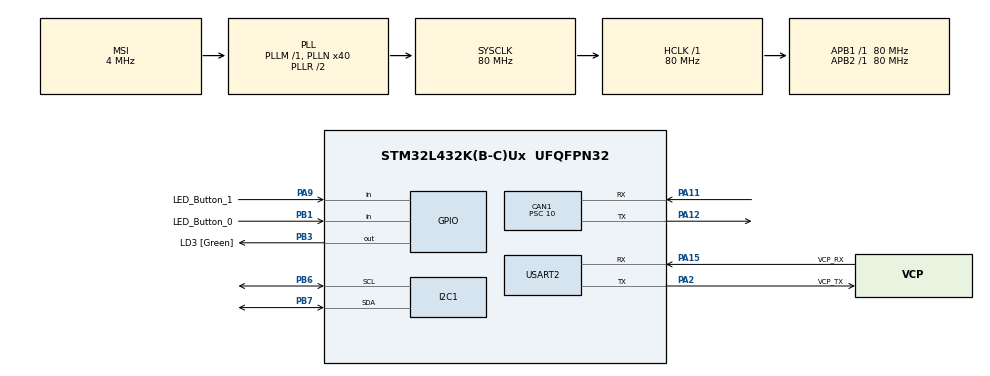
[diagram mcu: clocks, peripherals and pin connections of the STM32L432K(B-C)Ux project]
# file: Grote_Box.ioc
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CAN1.BS1=CAN_BS1_13TQ
CAN1.BS2=CAN_BS2_2TQ
CAN1.CalculateBaudRate=500000
CAN1.CalculateTimeBit=2000
CAN1.CalculateTimeQuantum=125.0
CAN1.Prescaler=10
I2C1.Timing=0x10D19CE4
Mcu.Family=STM32L4
Mcu.Name=STM32L432K(B-C)Ux
Mcu.Package=UFQFPN32
NVIC.CAN1_RX0_IRQn=true\:0\:0\:false\:false\:true\:true\:true\:true
NVIC.CAN1_RX1_IRQn=true\:0\:0\:false\:false\:true\:true\:true\:true
NVIC.PriorityGroup=NVIC_PRIORITYGROUP_4
PA0.GPIO_Label=MCO [High speed clock in]
PA0.Mode=HSE-External-Clock-Source-for-LittleOrca
PA0.Signal=RCC_CK_IN
PA11.GPIO_PuPd=GPIO_PULLUP
PA11.Mode=CAN_Activate
PA11.Signal=CAN1_RX
PA12.Mode=CAN_Activate
PA12.Signal=CAN1_TX
PA13\ (JTMS-SWDIO).GPIO_Label=SWDIO
PA13\ (JTMS-SWDIO).Mode=Serial_Wire
PA13\ (JTMS-SWDIO).Signal=SYS_JTMS-SWDIO
PA14\ (JTCK-SWCLK).GPIO_Label=SWCLK
PA14\ (JTCK-SWCLK).Mode=Serial_Wire
PA14\ (JTCK-SWCLK).Signal=SYS_JTCK-SWCLK
PA15\ (JTDI).GPIO_Label=VCP_RX
PA15\ (JTDI).Mode=Asynchronous
PA15\ (JTDI).Signal=USART2_RX
PA2.GPIO_Label=VCP_TX
PA2.Mode=Asynchronous
PA2.Signal=USART2_TX
PA9.GPIO_Label=LED_Button_1
PA9.GPIO_PuPd=GPIO_PULLUP
PA9.Signal=GPIO_Input
PB1.GPIO_Label=LED_Button_0
PB1.GPIO_PuPd=GPIO_PULLUP
PB1.Signal=GPIO_Input
PB3\ (JTDO-TRACESWO).GPIO_Label=LD3 [Green]
PB3\ (JTDO-TRACESWO).Signal=GPIO_Output
PB6.GPIO_Pu=GPIO_PULLUP
PB6.Mode=I2C
PB6.Signal=I2C1_SCL
PB7.GPIO_Pu=GPIO_PULLUP
PB7.Mode=I2C
PB7.Signal=I2C1_SDA
PC14-OSC32_IN\ (PC14).Mode=LSE-External-Oscillator
PC14-OSC32_IN\ (PC14).Signal=RCC_OSC32_IN
PC15-OSC32_OUT\ (PC15).Mode=LSE-External-Oscillator
PC15-OSC32_OUT\ (PC15).Signal=RCC_OSC32_OUT
ProjectManager.HeapSize=0x200
ProjectManager.StackSize=0x400
ProjectManager.TargetToolchain=STM32CubeIDE
RCC.AHBFreq_Value=80000000
RCC.APB1Freq_Value=80000000
RCC.APB1TimFreq_Value=80000000
RCC.APB2Freq_Value=80000000
RCC.APB2TimFreq_Value=80000000
RCC.CortexFreq_Value=80000000
RCC.HCLKFreq_Value=80000000
RCC.HSE_VALUE=8000000
RCC.HSI16_VALUE=16000000
RCC.HSI48_VALUE=48000000
RCC.HSI_VALUE=16000000
RCC.MSI_VALUE=4000000
RCC.PLLMUL=RCC_PLLMUL_4
RCC.PLLN=40
RCC.SYSCLKFreq_VALUE=80000000
RCC.SYSCLKSource=RCC_SYSCLKSOURCE_PLLCLK
RCC.VCOOutputFreq_Value=160000000
USART2.VirtualMode-Asynchronous=VM_ASYNC
board=NUCLEO-L432KC

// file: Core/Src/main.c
/* USER CODE BEGIN Header */
/**
  ******************************************************************************
  * @file           : main.c
  * @brief          : Main program body
  ******************************************************************************
  * @attention
  *
  * Copyright (c) 2026 STMicroelectronics.
  * All rights reserved.
  *
  * This software is licensed under terms that can be found in the LICENSE file
  * in the root directory of this software component.
  * If no LICENSE file comes with this software, it is provided AS-IS.
  *
  ******************************************************************************
  */
/* USER CODE END Header */
#include "main.h"

/* USER CODE BEGIN Includes */
#include <stdio.h>
#include <string.h>
#include <math.h>
/* USER CODE END Includes */

/* USER CODE BEGIN PD */
#define GYRO_ADDR  (0x68 << 1)
#define PATIENT_FALLEN 0x20
/* USER CODE END PD */

CAN_HandleTypeDef hcan1;
I2C_HandleTypeDef hi2c1;
UART_HandleTypeDef huart2;

/* USER CODE BEGIN PV */
uint8_t ledsA = 0x00;   // GPIOA (LED 0 t/m 7)
uint8_t ledsB = 0x00;   // GPIOB (LED 8 en 9)

CAN_TxHeaderTypeDef TxHeader;
CAN_RxHeaderTypeDef RxHeader;
uint8_t TxData[8];
uint8_t RxData[8];
uint32_t TxMailbox;
/* USER CODE END PV */

void SystemClock_Config(void);
static void MX_GPIO_Init(void);
static void MX_I2C1_Init(void);
static void MX_USART2_UART_Init(void);
static void MX_CAN1_Init(void);
/* USER CODE BEGIN PFP */
void setLedBar(uint8_t index, uint8_t on);
void readGYRO(void);
void sendFallAlarm(void);
/* USER CODE END PFP */

int main(void)
{

  /* MCU Configuration--------------------------------------------------------*/

  /* Reset of all peripherals, Initializes the Flash interface and the Systick. */
  HAL_Init();

  /* Configure the system clock */
  SystemClock_Config();

  /* Initialize all configured peripherals */
  MX_GPIO_Init();
  MX_I2C1_Init();
  MX_USART2_UART_Init();
  MX_CAN1_Init();
  /* USER CODE BEGIN 2 */
  uint8_t setA = 0b00000000;
  uint8_t setB = 0b01010100;
  uint8_t pullUps = 0b01010100;

  CAN_FilterTypeDef  sFilterConfig;

    // Configure Filter: Accept ALL messages (Mask 0)
    sFilterConfig.FilterBank = 0;
    sFilterConfig.FilterMode = CAN_FILTERMODE_IDMASK;
    sFilterConfig.FilterScale = CAN_FILTERSCALE_32BIT;
    sFilterConfig.FilterIdHigh = 0x0000;
    sFilterConfig.FilterIdLow = 0x0000;
    sFilterConfig.FilterMaskIdHigh = 0x0000;
    sFilterConfig.FilterMaskIdLow = 0x0000;
    sFilterConfig.FilterFIFOAssignment = CAN_RX_FIFO0;
    sFilterConfig.FilterActivation = ENABLE;
    sFilterConfig.SlaveStartFilterBank = 14;

    if (HAL_CAN_ConfigFilter(&hcan1, &sFilterConfig) != HAL_OK) {
  	  Error_Handler();
    }

    // Start the CAN peripheral
    if (HAL_CAN_Start(&hcan1) != HAL_OK) {
  	  Error_Handler();
    }

    // Activate the Notification (Interrupt) for incoming messages
    if (HAL_CAN_ActivateNotification(&hcan1, CAN_IT_RX_FIFO0_MSG_PENDING) != HAL_OK) {
  	  Error_Handler();
    }

  // IODIRA (0x00) → alle A‑pins output
  HAL_I2C_Mem_Write(&hi2c1, 0x21 << 1, 0x00, 1, &setA, 1, 100);

  // IODIRB (0x01) → alle B‑pins setten (in en out)
  HAL_I2C_Mem_Write(&hi2c1, 0x21 << 1, 0x01, 1, &setB, 1, 100);

  // Setten pullups voor GPIOB
  HAL_I2C_Mem_Write(&hi2c1, 0x21 << 1, 0x0D, 1, &pullUps, 1, 100);

  // Eerst alle LEDS uitzetten, LAAT DIT STAAN
  HAL_I2C_Mem_Write(&hi2c1, 0x21 << 1, 0x12, 1, &ledsA, 1, 100); // GPIOA = 0
  HAL_I2C_Mem_Write(&hi2c1, 0x21 << 1, 0x13, 1, &ledsB, 1, 100); // GPIOB = 0

  setLedBar(9,1);
  setLedBar(7,1);

  // Wake up van de GYRO/IMU
  uint8_t data = 0;
  HAL_I2C_Mem_Write(&hi2c1, GYRO_ADDR, 0x6B, 1, &data, 1, 100);
  /* USER CODE END 2 */

  /* Infinite loop */
  /* USER CODE BEGIN WHILE */
  while (1)
  {
	  readGYRO();
	  HAL_Delay(100);
    /* USER CODE END WHILE */

  }
}

void SystemClock_Config(void)
{
  RCC_OscInitTypeDef RCC_OscInitStruct = {0};
  RCC_ClkInitTypeDef RCC_ClkInitStruct = {0};

  /** Configure the main internal regulator output voltage
  */
  if (HAL_PWREx_ControlVoltageScaling(PWR_REGULATOR_VOLTAGE_SCALE1) != HAL_OK)
  {
    Error_Handler();
  }

  /** Configure LSE Drive Capability
  */
  HAL_PWR_EnableBkUpAccess();
  __HAL_RCC_LSEDRIVE_CONFIG(RCC_LSEDRIVE_LOW);

  /** Initializes the RCC Oscillators according to the specified parameters
  * in the RCC_OscInitTypeDef structure.
  */
  RCC_OscInitStruct.OscillatorType = RCC_OSCILLATORTYPE_LSE|RCC_OSCILLATORTYPE_MSI;
  RCC_OscInitStruct.LSEState = RCC_LSE_ON;
  RCC_OscInitStruct.MSIState = RCC_MSI_ON;
  RCC_OscInitStruct.MSICalibrationValue = 0;
  RCC_OscInitStruct.MSIClockRange = RCC_MSIRANGE_6;
  RCC_OscInitStruct.PLL.PLLState = RCC_PLL_ON;
  RCC_OscInitStruct.PLL.PLLSource = RCC_PLLSOURCE_MSI;
  RCC_OscInitStruct.PLL.PLLM = 1;
  RCC_OscInitStruct.PLL.PLLN = 40;
  RCC_OscInitStruct.PLL.PLLP = RCC_PLLP_DIV7;
  RCC_OscInitStruct.PLL.PLLQ = RCC_PLLQ_DIV2;
  RCC_OscInitStruct.PLL.PLLR = RCC_PLLR_DIV2;
  if (HAL_RCC_OscConfig(&RCC_OscInitStruct) != HAL_OK)
  {
    Error_Handler();
  }

  /** Initializes the CPU, AHB and APB buses clocks
  */
  RCC_ClkInitStruct.ClockType = RCC_CLOCKTYPE_HCLK|RCC_CLOCKTYPE_SYSCLK
                              |RCC_CLOCKTYPE_PCLK1|RCC_CLOCKTYPE_PCLK2;
  RCC_ClkInitStruct.SYSCLKSource = RCC_SYSCLKSOURCE_PLLCLK;
  RCC_ClkInitStruct.AHBCLKDivider = RCC_SYSCLK_DIV1;
  RCC_ClkInitStruct.APB1CLKDivider = RCC_HCLK_DIV1;
  RCC_ClkInitStruct.APB2CLKDivider = RCC_HCLK_DIV1;

  if (HAL_RCC_ClockConfig(&RCC_ClkInitStruct, FLASH_LATENCY_4) != HAL_OK)
  {
    Error_Handler();
  }

  /** Enable MSI Auto calibration
  */
  HAL_RCCEx_EnableMSIPLLMode();
}

static void MX_CAN1_Init(void)
{

  hcan1.Instance = CAN1;
  hcan1.Init.Prescaler = 10;
  hcan1.Init.Mode = CAN_MODE_NORMAL;
  hcan1.Init.SyncJumpWidth = CAN_SJW_1TQ;
  hcan1.Init.TimeSeg1 = CAN_BS1_13TQ;
  hcan1.Init.TimeSeg2 = CAN_BS2_2TQ;
  hcan1.Init.TimeTriggeredMode = DISABLE;
  hcan1.Init.AutoBusOff = DISABLE;
  hcan1.Init.AutoWakeUp = DISABLE;
  hcan1.Init.AutoRetransmission = DISABLE;
  hcan1.Init.ReceiveFifoLocked = DISABLE;
  hcan1.Init.TransmitFifoPriority = DISABLE;
  if (HAL_CAN_Init(&hcan1) != HAL_OK)
  {
    Error_Handler();
  }

}

static void MX_I2C1_Init(void)
{

  hi2c1.Instance = I2C1;
  hi2c1.Init.Timing = 0x10D19CE4;
  hi2c1.Init.OwnAddress1 = 0;
  hi2c1.Init.AddressingMode = I2C_ADDRESSINGMODE_7BIT;
  hi2c1.Init.DualAddressMode = I2C_DUALADDRESS_DISABLE;
  hi2c1.Init.OwnAddress2 = 0;
  hi2c1.Init.OwnAddress2Masks = I2C_OA2_NOMASK;
  hi2c1.Init.GeneralCallMode = I2C_GENERALCALL_DISABLE;
  hi2c1.Init.NoStretchMode = I2C_NOSTRETCH_DISABLE;
  if (HAL_I2C_Init(&hi2c1) != HAL_OK)
  {
    Error_Handler();
  }

  /** Configure Analogue filter
  */
  if (HAL_I2CEx_ConfigAnalogFilter(&hi2c1, I2C_ANALOGFILTER_ENABLE) != HAL_OK)
  {
    Error_Handler();
  }

  /** Configure Digital filter
  */
  if (HAL_I2CEx_ConfigDigitalFilter(&hi2c1, 0) != HAL_OK)
  {
    Error_Handler();
  }
}

static void MX_USART2_UART_Init(void)
{

  huart2.Instance = USART2;
  huart2.Init.BaudRate = 115200;
  huart2.Init.WordLength = UART_WORDLENGTH_8B;
  huart2.Init.StopBits = UART_STOPBITS_1;
  huart2.Init.Parity = UART_PARITY_NONE;
  huart2.Init.Mode = UART_MODE_TX_RX;
  huart2.Init.HwFlowCtl = UART_HWCONTROL_NONE;
  huart2.Init.OverSampling = UART_OVERSAMPLING_16;
  huart2.Init.OneBitSampling = UART_ONE_BIT_SAMPLE_DISABLE;
  huart2.AdvancedInit.AdvFeatureInit = UART_ADVFEATURE_NO_INIT;
  if (HAL_UART_Init(&huart2) != HAL_OK)
  {
    Error_Handler();
  }

}

static void MX_GPIO_Init(void)
{
  GPIO_InitTypeDef GPIO_InitStruct = {0};

  /* GPIO Ports Clock Enable */
  __HAL_RCC_GPIOC_CLK_ENABLE();
  __HAL_RCC_GPIOA_CLK_ENABLE();
  __HAL_RCC_GPIOB_CLK_ENABLE();

  /*Configure GPIO pin Output Level */
  HAL_GPIO_WritePin(LD3_GPIO_Port, LD3_Pin, GPIO_PIN_RESET);

  /*Configure GPIO pin : LED_Button_0_Pin */
  GPIO_InitStruct.Pin = LED_Button_0_Pin;
  GPIO_InitStruct.Mode = GPIO_MODE_INPUT;
  GPIO_InitStruct.Pull = GPIO_PULLUP;
  HAL_GPIO_Init(LED_Button_0_GPIO_Port, &GPIO_InitStruct);

  /*Configure GPIO pin : LED_Button_1_Pin */
  GPIO_InitStruct.Pin = LED_Button_1_Pin;
  GPIO_InitStruct.Mode = GPIO_MODE_INPUT;
  GPIO_InitStruct.Pull = GPIO_PULLUP;
  HAL_GPIO_Init(LED_Button_1_GPIO_Port, &GPIO_InitStruct);

  /*Configure GPIO pin : LD3_Pin */
  GPIO_InitStruct.Pin = LD3_Pin;
  GPIO_InitStruct.Mode = GPIO_MODE_OUTPUT_PP;
  GPIO_InitStruct.Pull = GPIO_NOPULL;
  GPIO_InitStruct.Speed = GPIO_SPEED_FREQ_LOW;
  HAL_GPIO_Init(LD3_GPIO_Port, &GPIO_InitStruct);

}

/* USER CODE BEGIN 4 */
/**
 * @brief Stuurt een alarm voor een val door een waarschuwing te loggen via UART en een noodbericht te verzenden over de CAN bus.
 *
 */
void sendFallAlarm(void)
{
	char alarm_msg[] = "\r\nVAL GEDETECTEERD!\r\n"; //Debug message.
	HAL_UART_Transmit(&huart2, (uint8_t*)alarm_msg, strlen(alarm_msg), 1000);

    //CAN header confugureren.
	TxHeader.StdId = PATIENT_FALLEN;
	TxHeader.IDE = CAN_ID_STD;
	TxHeader.RTR = CAN_RTR_DATA;
	TxHeader.DLC = 1;
	TxHeader.TransmitGlobalTime = DISABLE;

	TxData[0] = 0x01; //= val actief.

	HAL_CAN_AddTxMessage(&hcan1, &TxHeader, TxData,  &TxMailbox); //Verzend het bericht op de CAN bus.
}

/**
 * @brief Leest de ruwe versnellingsdata uit via I2C.
 *        Berekent de totale G-krachtvector.
 *        Triggert een valalarm als er een vrije val wordt gedetecteerd.
 */
void readGYRO(){
	uint8_t gyroRead[6];
	float Ax, Ay, Az;
	int16_t X_GYRO, Y_GRYO, Z_GYRO;
	float Atot;

    // Lees 6 opeenvolgende registers uit via I2C, vanaf het startregister 0x3B.
	HAL_I2C_Mem_Read(&hi2c1, GYRO_ADDR, 0x3B, 1, gyroRead, 6, 100);

    // Combineer de MSB en LSB bytes tot 16-bit getekende integers, signed int16_t, voor elke as.
	X_GYRO = (int16_t)(gyroRead[0] << 8 | gyroRead[1]);
	Y_GRYO = (int16_t)(gyroRead[2] << 8 | gyroRead[3]);
    Z_GYRO = (int16_t)(gyroRead[4] << 8 | gyroRead[5]);

    // Converteer de ruwe sensorwaarden naar G-kracht, uitgaande van een schaalinstelling waarbij 1g = 16384 LSB.
    Ax = X_GYRO / 16384.0;
	Ay = Y_GRYO / 16384.0;
	Az = Z_GYRO / 16384.0;

    // Berekent de totale resulterende versnellingsvector met de stelling van Pythagoras in 3D.
	Atot = sqrtf((Ax * Ax) + (Ay * Ay) + (Az * Az));
	if (Atot < 0.80)
		sendFallAlarm(); // Als de waarde onder de 0.80g zakt, bevindt de sensor zich in een vrije val en wordt dit verzonden.
}

/**
 * @brief Schakelt een specifieke LED op de bar aan/uit door de bitstatus in de registers van de I/O expander aan te passen via I2C.
 *
 * @param index De index van de target LED (0 t/m 7 voor Port A, 8 en 9 voor Port B).
 * @param on De gewenste status van de LED (1 voor inschakelen, 0 voor uitschakelen).
 */
void setLedBar(uint8_t index, uint8_t on){
	if (index < 8){
		if (on){
			ledsA |= (1 << index); // Zet de specifieke bit op 1 om de LED in te schakelen. Invoeren 1 dan wordt het sws 1.
		}else{
			ledsA &= ~(1 << index); // Zet de specifieke bit op 0 om de LED uit te schakelen. Invoeren 0 dan wordt het sws 0.
		}
		HAL_I2C_Mem_Write(&hi2c1, 0x21 << 1, 0x12, 1, &ledsA, 1, 100); // Schrijf het bijgewerkte bitmasker naar Port A (0x12) via I2C.
	}else if (index < 10){
		uint8_t bit = index - 8; // Vertaal de globale index naar een bit-positie (0 of 1) binnen Port B.
		if (on){
			ledsB |= (1 << bit); // Zet de specifieke bit op 1 om de LED in te schakelen.
		}else{
			ledsB &= ~(1 << bit); // Zet de specifieke bit op 0 om de LED uit te schakelen
		}
		HAL_I2C_Mem_Write(&hi2c1, 0x21 << 1, 0x13, 1, &ledsB, 1, 100); //Schrijf het bijgewerkte bitmasker naar Port B (0x13) via I2C.
	}
}

/**
 * @brief Callback functie die automatisch wordt geactiveerd zodra er een nieuw CAN bericht in Rx FIFO 0 is binnengekomen en dit bericht uitleest.
 *
 * @param hcan Pointer naar de CAN configuratiestructuur van de actieve CAN bus.
 */
void HAL_CAN_RxFifo0MsgPendingCallback(CAN_HandleTypeDef *hcan) {
	if (HAL_CAN_GetRxMessage(hcan, CAN_RX_FIFO0, &RxHeader, RxData) == HAL_OK) {//Haal het inkomende CAN bericht op uit FIFO 0 en sla de header en data op in de globale variabelen RxHeader en RxData.
        //Heeft geen informatie nodig en is daardoor leeg gebleven.
	}
}

/* USER CODE END 4 */

void Error_Handler(void)
{
  __disable_irq();
  while (1)
  {
  }
}
